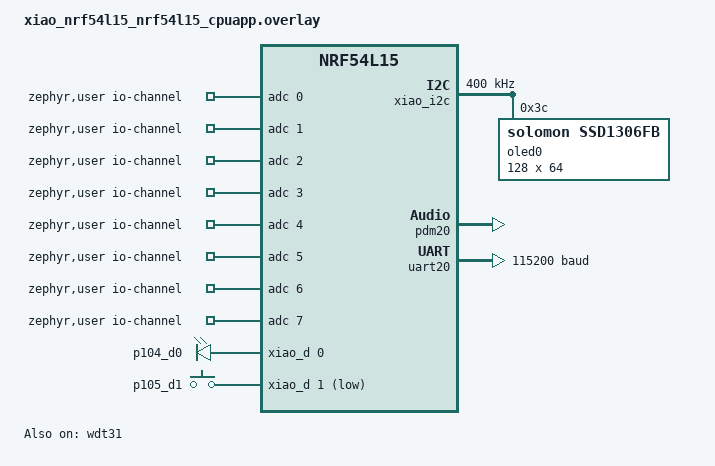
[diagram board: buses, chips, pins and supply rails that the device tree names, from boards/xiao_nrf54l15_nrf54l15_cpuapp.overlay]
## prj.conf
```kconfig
# --- 1. ENABLE TENSORFLOW (CRITICAL MISSING LINE) ---
CONFIG_TENSORFLOW_LITE_MICRO=y
CONFIG_CPP=y
CONFIG_STD_CPP17=y
CONFIG_EXTERNAL_LIBCPP=y
CONFIG_NEWLIB_LIBC=y
CONFIG_NEWLIB_LIBC_FLOAT_PRINTF=y
CONFIG_FPU=y
CONFIG_TENSORFLOW_LITE_MICRO=y
CONFIG_SIZE_OPTIMIZATIONS=y
# --- 4. MEMORY (Increased for AI) ---
CONFIG_MAIN_STACK_SIZE=8192
CONFIG_HEAP_MEM_POOL_SIZE=16384
CONFIG_SYSTEM_WORKQUEUE_STACK_SIZE=4096
CONFIG_MPSL_WORK_STACK_SIZE=4096
# --- 5. HARDWARE ---
CONFIG_FPU=y
CONFIG_FPU_SHARING=y
CONFIG_GPIO=y
CONFIG_AUDIO=y
CONFIG_AUDIO_DMIC=y
CONFIG_REGULATOR=y
# --- 6. LOGGING ---
CONFIG_LOG=y
CONFIG_SERIAL=n
CONFIG_UART_CONSOLE=n
CONFIG_CONSOLE=n
CONFIG_PRINTK=n
# --- 8. POWER & PERFORMANCE ---
CONFIG_PM=y
CONFIG_PM_DEVICE=y
CONFIG_PM_DEVICE_RUNTIME=y
```

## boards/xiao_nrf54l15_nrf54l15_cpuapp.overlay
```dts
/ {
    chosen {
        /* Tell Zephyr this is the main screen */
        zephyr,display = &oled0;
    };

    zephyr,user {
        io-channels = <&adc 0>, <&adc 1>, <&adc 2>, <&adc 3>,
                      <&adc 4>, <&adc 5>, <&adc 6>, <&adc 7>;
    };

    /* Your extra LED definitions (optional but harmless to keep) */
    o_ports {
        compatible = "gpio-leds";
        p104_d0: p104_d0 {
            gpios = <&xiao_d 0 GPIO_ACTIVE_HIGH>;
        };
    };

    i_port {
        compatible = "gpio-keys";
        p105_d1: p105_d1 {
            gpios = <&xiao_d 1 (GPIO_PULL_UP | GPIO_ACTIVE_LOW)>;
            zephyr,code = <INPUT_KEY_ENTER>;
        };
    };

    aliases {
        p104d0 = &p104_d0;
        p105d1 = &p105_d1;
    };
};

/* --- 1. ENABLE I2C DISPLAY --- */
/* Using the board alias handles the pins automatically! */
&xiao_i2c {
    clock-frequency = <400000>;
    status = "okay";
    zephyr,concat-buf-size = <1025>;
    zephyr,flash-buf-max-size = <1025>;
    /* The SSD1306 Driver Definition */
    oled0: ssd1306@3c {
        compatible = "solomon,ssd1306fb";
        reg = <0x3c>; /* Address 0x3C */
        width = <128>;
        height = <64>;
        segment-offset = <0>;
        page-offset = <0>;
        display-offset = <0>;
        multiplex-ratio = <63>;
        segment-remap;
        com-invdir;
        prechargep = <0x22>;
    };
};

/* --- 2. AI & AUDIO SETTINGS --- */
&wdt31 {
    status = "okay";
};

dmic_dev: &pdm20 {
    status = "okay";
};

&uart20 {
    current-speed = <115200>;
};
```

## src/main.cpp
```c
#include <stdio.h>
#include <zephyr/kernel.h>
#include <zephyr/audio/dmic.h>
#include <zephyr/drivers/gpio.h>
#include <zephyr/drivers/regulator.h>
#include <zephyr/pm/device.h>
#include <zephyr/pm/device_runtime.h>
#include <string.h>

// For high-precision timing helpers
#include <zephyr/sys_clock.h>

#include "tensorflow/lite/micro/micro_mutable_op_resolver.h"
#include "tensorflow/lite/micro/micro_interpreter.h"
#include "tensorflow/lite/schema/schema_generated.h"
#include "model_data.h"

// --- 1. CONFIGURATION ---
#define SAMPLE_RATE     16000
#define TOTAL_SAMPLES   ((int)(16000 * 1.5f))
#define DISCARD_SAMPLES ((int)(16000 * 0.5f))
#define INF_SAMPLES     ((int)(16000 * 1.0f))
#define BLOCK_SIZE      2048

// --- 2. HARDWARE NODES ---
static const struct device *const dmic_dev = DEVICE_DT_GET(DT_NODELABEL(dmic_dev));
static const struct gpio_dt_spec button    = GPIO_DT_SPEC_GET(DT_ALIAS(sw0), gpios);
static const struct gpio_dt_spec led0      = GPIO_DT_SPEC_GET(DT_ALIAS(led0), gpios);

// --- 3. GLOBALS ---
static int16_t rx_buffer[TOTAL_SAMPLES];
K_MEM_SLAB_DEFINE_STATIC(mem_slab, BLOCK_SIZE, 8, 4);
static K_SEM_DEFINE(button_sem, 0, 1);
static struct gpio_callback button_cb_data;

// --- 4. AI BUFFERS ---
constexpr int kArenaSize = 55 * 1024;
alignas(16) static uint8_t tensor_arena[kArenaSize];
static tflite::MicroInterpreter *interpreter = nullptr;
static TfLiteTensor *input_tensor            = nullptr;
static TfLiteTensor *output_tensor           = nullptr;

// --- 5. BUTTON ISR ---
static void button_isr(const struct device *dev, struct gpio_callback *cb, uint32_t pins) {
    k_sem_give(&button_sem);
}

// --- 6. AI SETUP ---
static void setup_ai(void) {
    const tflite::Model *model = tflite::GetModel(g_audio_model_v2);
    static tflite::MicroMutableOpResolver<17> resolver;
    resolver.AddExpandDims();      resolver.AddReshape();        resolver.AddShape();
    resolver.AddStridedSlice();    resolver.AddPack();           resolver.AddConv2D();
    resolver.AddMaxPool2D();       resolver.AddFullyConnected(); resolver.AddLogistic();
    resolver.AddMul();             resolver.AddAdd();            resolver.AddMean();
    resolver.AddQuantize();        resolver.AddDequantize();     resolver.AddPad();
    resolver.AddDepthwiseConv2D(); resolver.AddReduceMax();

    static tflite::MicroInterpreter static_interpreter(
        model, resolver, tensor_arena, kArenaSize);
    interpreter = &static_interpreter;

    if (interpreter->AllocateTensors() == kTfLiteOk) {
        input_tensor  = interpreter->input(0);
        output_tensor = interpreter->output(0);
        
        size_t used = interpreter->arena_used_bytes();
        printk("AI Ready. Arena Usage: %d / %d bytes (%d%% used)\n", 
                used, kArenaSize, (used * 100) / kArenaSize);
    }
}

// --- 7. AUDIO RECORDING ---
static void record_audio(void) {
    uint32_t bytes_recorded = 0;
    struct pcm_stream_cfg stream = {
        .pcm_rate   = SAMPLE_RATE,
        .pcm_width  = 16,
        .block_size = BLOCK_SIZE,
        .mem_slab   = &mem_slab
    };
    struct dmic_cfg cfg = {
        .io = { .min_pdm_clk_freq = 1000000, .max_pdm_clk_freq = 3500000 },
        .streams = &stream,
        .channel = {
            .req_chan_map_lo = dmic_build_channel_map(0, 0, PDM_CHAN_LEFT),
            .req_num_chan    = 1,
            .req_num_streams = 1
        }
    };

    if (dmic_configure(dmic_dev, &cfg) < 0) return;

    //gpio_pin_set_dt(&led0, 0); // Active Low LED ON
    dmic_trigger(dmic_dev, DMIC_TRIGGER_START);

    while (bytes_recorded < sizeof(rx_buffer)) {
        void *buffer;
        uint32_t size;
        if (dmic_read(dmic_dev, 0, &buffer, &size, 100) >= 0) {
            memcpy((uint8_t *)rx_buffer + bytes_recorded, buffer, size);
            bytes_recorded += size;
            k_mem_slab_free(&mem_slab, buffer);
        }
    }

    dmic_trigger(dmic_dev, DMIC_TRIGGER_STOP);
    //gpio_pin_set_dt(&led0, 1); // LED OFF
}

// --- 8. INFERENCE & HIGH-PRECISION TIMING ---
static void run_inference(void) {
    if (interpreter == nullptr) return;

    // Load data into input tensor
    int8_t *input_ptr = tflite::GetTensorData<int8_t>(input_tensor);
    for (int i = 0; i < INF_SAMPLES; i++) {
        input_ptr[i] = (int8_t)(rx_buffer[i + DISCARD_SAMPLES] >> 8);
    }

    // --- HIGH PRECISION START ---
    uint32_t start_cycles = k_cycle_get_32();
    
    TfLiteStatus invoke_status = interpreter->Invoke();
    
    uint32_t end_cycles = k_cycle_get_32();
    // --- HIGH PRECISION END ---

    // Calculate delta and convert to microseconds
    uint32_t diff_cycles = end_cycles - start_cycles;
    uint32_t diff_us = k_cyc_to_us_near32(diff_cycles);

    if (invoke_status == kTfLiteOk) {
        int8_t raw = output_tensor->data.int8[0];
        float val  = (raw - output_tensor->params.zero_point) * output_tensor->params.scale;
        
        printk("\n>>> INFERENCE METRICS <<<\n");
        printk("Execution Time : %u us (%u.%03u ms)\n", 
                diff_us, diff_us / 1000, diff_us % 1000);
        printk("Result         : %s\n", (val > 0.8f) ? "DETECTED" : "NOISE");
        printk("Confidence     : %d%%\n", (int)(val * 100));
        printk("Arena Used     : %d bytes\n", (int)interpreter->arena_used_bytes());
        printk("--------------------------\n");
    } else {
        printk("Inference Invoke Failed!\n");
    }
}

// --- 9. MAIN ---
int main(void) {
    printk("\n*** nRF54L15 Audio AI Benchmarking Tool ***\n");
    gpio_pin_set_dt(&led0, 1); // LED OFF
    //gpio_pin_configure_dt(&led0, GPIO_OUTPUT_INACTIVE);
    gpio_pin_configure_dt(&button, GPIO_INPUT | GPIO_PULL_UP);
    gpio_pin_interrupt_configure_dt(&button, GPIO_INT_EDGE_TO_ACTIVE);
    gpio_init_callback(&button_cb_data, button_isr, BIT(button.pin));
    gpio_add_callback(button.port, &button_cb_data);

    k_msleep(500);

    setup_ai();

    printk("System Ready. Press the button to run benchmark.\n");

    while (1) {
        k_sem_take(&button_sem, K_FOREVER);

        if (device_is_ready(dmic_dev)) {
            pm_device_runtime_get(dmic_dev);
            record_audio();
            pm_device_runtime_put(dmic_dev);
        }

        run_inference();
    }
}
```
